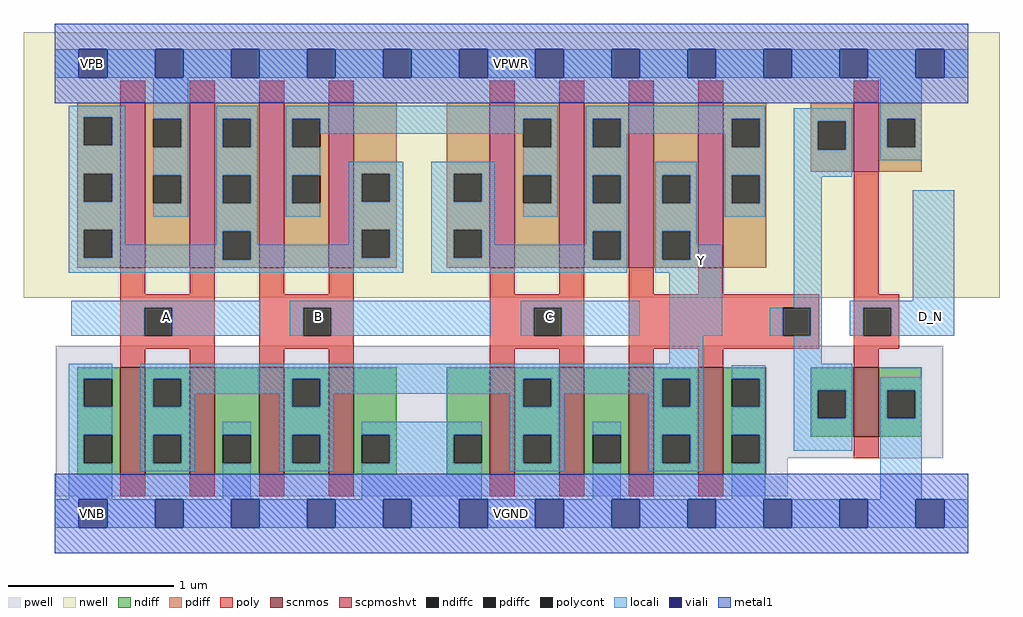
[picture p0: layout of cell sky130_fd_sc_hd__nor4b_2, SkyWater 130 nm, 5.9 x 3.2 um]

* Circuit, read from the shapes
.subckt sky130_fd_sc_hd__nor4b_2 A B C D_N VGND VNB VPB VPWR Y
XM1 Y A VGND VNB sky130_fd_pr__nfet_01v8 w=0.65 l=0.15 m=2
XM2 Y B VGND VNB sky130_fd_pr__nfet_01v8 w=0.65 l=0.15 m=2
XM3 Y C VGND VNB sky130_fd_pr__nfet_01v8 w=0.65 l=0.15 m=2
XM4 Y n1 VGND VNB sky130_fd_pr__nfet_01v8 w=0.65 l=0.15 m=2
XM5 VGND D_N n1 VNB sky130_fd_pr__nfet_01v8 w=0.42 l=0.15
XM6 VPWR A n2 VPB sky130_fd_pr__pfet_01v8_hvt w=1 l=0.15 m=2
XM7 n3 B n2 VPB sky130_fd_pr__pfet_01v8_hvt w=1 l=0.15 m=2
XM8 n3 C n4 VPB sky130_fd_pr__pfet_01v8_hvt w=1 l=0.15 m=2
XM9 Y n1 n4 VPB sky130_fd_pr__pfet_01v8_hvt w=1 l=0.15 m=2
XM10 VPWR D_N n1 VPB sky130_fd_pr__pfet_01v8_hvt w=0.42 l=0.15
.ends

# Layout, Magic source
magic
tech sky130A
magscale 1 2
<< nwell >>
rect -38 261 1142 582
<< pwell >>
rect 1 67 1074 203
rect 1 21 886 67
rect 29 -17 63 21
<< scnmos >>
rect 79 47 109 177
rect 163 47 193 177
rect 247 47 277 177
rect 331 47 361 177
rect 526 47 556 177
rect 610 47 640 177
rect 694 47 724 177
rect 778 47 808 177
rect 966 93 996 177
<< scpmoshvt >>
rect 79 297 109 497
rect 163 297 193 497
rect 247 297 277 497
rect 331 297 361 497
rect 526 297 556 497
rect 610 297 640 497
rect 694 297 724 497
rect 778 297 808 497
rect 966 413 996 497
<< ndiff >>
rect 27 163 79 177
rect 27 129 35 163
rect 69 129 79 163
rect 27 95 79 129
rect 27 61 35 95
rect 69 61 79 95
rect 27 47 79 61
rect 109 163 163 177
rect 109 129 119 163
rect 153 129 163 163
rect 109 95 163 129
rect 109 61 119 95
rect 153 61 163 95
rect 109 47 163 61
rect 193 95 247 177
rect 193 61 203 95
rect 237 61 247 95
rect 193 47 247 61
rect 277 163 331 177
rect 277 129 287 163
rect 321 129 331 163
rect 277 95 331 129
rect 277 61 287 95
rect 321 61 331 95
rect 277 47 331 61
rect 361 95 413 177
rect 361 61 371 95
rect 405 61 413 95
rect 361 47 413 61
rect 474 95 526 177
rect 474 61 482 95
rect 516 61 526 95
rect 474 47 526 61
rect 556 163 610 177
rect 556 129 566 163
rect 600 129 610 163
rect 556 95 610 129
rect 556 61 566 95
rect 600 61 610 95
rect 556 47 610 61
rect 640 95 694 177
rect 640 61 650 95
rect 684 61 694 95
rect 640 47 694 61
rect 724 163 778 177
rect 724 129 734 163
rect 768 129 778 163
rect 724 95 778 129
rect 724 61 734 95
rect 768 61 778 95
rect 724 47 778 61
rect 808 163 860 177
rect 808 129 818 163
rect 852 129 860 163
rect 808 95 860 129
rect 808 61 818 95
rect 852 61 860 95
rect 914 149 966 177
rect 914 115 922 149
rect 956 115 966 149
rect 914 93 966 115
rect 996 149 1048 177
rect 996 115 1006 149
rect 1040 115 1048 149
rect 996 93 1048 115
rect 808 47 860 61
<< pdiff >>
rect 27 479 79 497
rect 27 445 35 479
rect 69 445 79 479
rect 27 411 79 445
rect 27 377 35 411
rect 69 377 79 411
rect 27 343 79 377
rect 27 309 35 343
rect 69 309 79 343
rect 27 297 79 309
rect 109 477 163 497
rect 109 443 119 477
rect 153 443 163 477
rect 109 409 163 443
rect 109 375 119 409
rect 153 375 163 409
rect 109 297 163 375
rect 193 477 247 497
rect 193 443 203 477
rect 237 443 247 477
rect 193 409 247 443
rect 193 375 203 409
rect 237 375 247 409
rect 193 341 247 375
rect 193 307 203 341
rect 237 307 247 341
rect 193 297 247 307
rect 277 477 331 497
rect 277 443 287 477
rect 321 443 331 477
rect 277 409 331 443
rect 277 375 287 409
rect 321 375 331 409
rect 277 297 331 375
rect 361 411 413 497
rect 361 377 371 411
rect 405 377 413 411
rect 361 343 413 377
rect 361 309 371 343
rect 405 309 413 343
rect 361 297 413 309
rect 474 411 526 497
rect 474 377 482 411
rect 516 377 526 411
rect 474 343 526 377
rect 474 309 482 343
rect 516 309 526 343
rect 474 297 526 309
rect 556 477 610 497
rect 556 443 566 477
rect 600 443 610 477
rect 556 409 610 443
rect 556 375 566 409
rect 600 375 610 409
rect 556 297 610 375
rect 640 477 694 497
rect 640 443 650 477
rect 684 443 694 477
rect 640 409 694 443
rect 640 375 650 409
rect 684 375 694 409
rect 640 341 694 375
rect 640 307 650 341
rect 684 307 694 341
rect 640 297 694 307
rect 724 409 778 497
rect 724 375 734 409
rect 768 375 778 409
rect 724 341 778 375
rect 724 307 734 341
rect 768 307 778 341
rect 724 297 778 307
rect 808 477 860 497
rect 808 443 818 477
rect 852 443 860 477
rect 808 409 860 443
rect 914 474 966 497
rect 914 440 922 474
rect 956 440 966 474
rect 914 413 966 440
rect 996 477 1048 497
rect 996 443 1006 477
rect 1040 443 1048 477
rect 996 413 1048 443
rect 808 375 818 409
rect 852 375 860 409
rect 808 297 860 375
<< ndiffc >>
rect 35 129 69 163
rect 35 61 69 95
rect 119 129 153 163
rect 119 61 153 95
rect 203 61 237 95
rect 287 129 321 163
rect 287 61 321 95
rect 371 61 405 95
rect 482 61 516 95
rect 566 129 600 163
rect 566 61 600 95
rect 650 61 684 95
rect 734 129 768 163
rect 734 61 768 95
rect 818 129 852 163
rect 818 61 852 95
rect 922 115 956 149
rect 1006 115 1040 149
<< pdiffc >>
rect 35 445 69 479
rect 35 377 69 411
rect 35 309 69 343
rect 119 443 153 477
rect 119 375 153 409
rect 203 443 237 477
rect 203 375 237 409
rect 203 307 237 341
rect 287 443 321 477
rect 287 375 321 409
rect 371 377 405 411
rect 371 309 405 343
rect 482 377 516 411
rect 482 309 516 343
rect 566 443 600 477
rect 566 375 600 409
rect 650 443 684 477
rect 650 375 684 409
rect 650 307 684 341
rect 734 375 768 409
rect 734 307 768 341
rect 818 443 852 477
rect 922 440 956 474
rect 1006 443 1040 477
rect 818 375 852 409
<< poly >>
rect 79 497 109 523
rect 163 497 193 523
rect 247 497 277 523
rect 331 497 361 523
rect 526 497 556 523
rect 610 497 640 523
rect 694 497 724 523
rect 778 497 808 523
rect 966 497 996 523
rect 79 265 109 297
rect 163 265 193 297
rect 79 249 193 265
rect 79 215 108 249
rect 142 215 193 249
rect 79 199 193 215
rect 79 177 109 199
rect 163 177 193 199
rect 247 265 277 297
rect 331 265 361 297
rect 247 249 361 265
rect 247 215 300 249
rect 334 215 361 249
rect 247 199 361 215
rect 247 177 277 199
rect 331 177 361 199
rect 526 265 556 297
rect 610 265 640 297
rect 526 249 640 265
rect 526 215 579 249
rect 613 215 640 249
rect 526 199 640 215
rect 526 177 556 199
rect 610 177 640 199
rect 694 265 724 297
rect 778 265 808 297
rect 966 265 996 413
rect 694 249 924 265
rect 694 215 880 249
rect 914 215 924 249
rect 694 199 924 215
rect 966 249 1021 265
rect 966 215 977 249
rect 1011 215 1021 249
rect 966 199 1021 215
rect 694 177 724 199
rect 778 177 808 199
rect 966 177 996 199
rect 966 67 996 93
rect 79 21 109 47
rect 163 21 193 47
rect 247 21 277 47
rect 331 21 361 47
rect 526 21 556 47
rect 610 21 640 47
rect 694 21 724 47
rect 778 21 808 47
<< polycont >>
rect 108 215 142 249
rect 300 215 334 249
rect 579 215 613 249
rect 880 215 914 249
rect 977 215 1011 249
<< locali >>
rect 0 527 29 561
rect 63 527 121 561
rect 155 527 213 561
rect 247 527 305 561
rect 339 527 397 561
rect 431 527 489 561
rect 523 527 581 561
rect 615 527 673 561
rect 707 527 765 561
rect 799 527 857 561
rect 891 527 949 561
rect 983 527 1041 561
rect 1075 527 1104 561
rect 17 479 85 493
rect 17 445 35 479
rect 69 445 85 479
rect 17 411 85 445
rect 17 377 35 411
rect 69 377 85 411
rect 17 343 85 377
rect 119 477 161 527
rect 153 443 161 477
rect 119 409 161 443
rect 153 375 161 409
rect 119 359 161 375
rect 195 477 245 493
rect 195 443 203 477
rect 237 443 245 477
rect 195 409 245 443
rect 195 375 203 409
rect 237 375 245 409
rect 17 309 35 343
rect 69 325 85 343
rect 195 341 245 375
rect 279 477 608 493
rect 279 443 287 477
rect 321 459 566 477
rect 279 409 321 443
rect 600 443 608 477
rect 279 375 287 409
rect 279 359 321 375
rect 355 411 421 425
rect 355 377 371 411
rect 405 377 421 411
rect 195 325 203 341
rect 69 309 203 325
rect 17 307 203 309
rect 237 325 245 341
rect 355 343 421 377
rect 355 325 371 343
rect 237 309 371 325
rect 405 309 421 343
rect 237 307 421 309
rect 17 291 421 307
rect 455 411 532 425
rect 455 377 482 411
rect 516 377 532 411
rect 455 343 532 377
rect 566 409 608 443
rect 600 375 608 409
rect 566 359 608 375
rect 642 477 859 493
rect 642 443 650 477
rect 684 459 818 477
rect 684 443 692 459
rect 642 409 692 443
rect 810 443 818 459
rect 852 443 859 477
rect 642 375 650 409
rect 684 375 692 409
rect 455 309 482 343
rect 516 325 532 343
rect 642 341 692 375
rect 642 325 650 341
rect 516 309 650 325
rect 455 307 650 309
rect 684 307 692 341
rect 455 291 692 307
rect 726 409 776 425
rect 726 375 734 409
rect 768 375 776 409
rect 726 341 776 375
rect 810 409 859 443
rect 810 375 818 409
rect 852 375 859 409
rect 810 359 859 375
rect 893 474 964 490
rect 893 440 922 474
rect 956 440 964 474
rect 893 407 964 440
rect 998 477 1048 527
rect 998 443 1006 477
rect 1040 443 1048 477
rect 998 427 1048 443
rect 726 307 734 341
rect 768 325 776 341
rect 768 307 807 325
rect 726 291 807 307
rect 20 249 248 257
rect 20 215 108 249
rect 142 215 248 249
rect 284 249 527 257
rect 284 215 300 249
rect 334 215 527 249
rect 563 249 707 257
rect 563 215 579 249
rect 613 215 707 249
rect 743 215 807 291
rect 893 249 927 407
rect 1037 257 1087 391
rect 864 215 880 249
rect 914 215 927 249
rect 961 249 1087 257
rect 961 215 977 249
rect 1011 215 1087 249
rect 743 181 784 215
rect 17 163 69 181
rect 17 129 35 163
rect 17 95 69 129
rect 17 61 35 95
rect 17 17 69 61
rect 103 163 784 181
rect 893 181 927 215
rect 103 129 119 163
rect 153 145 287 163
rect 153 129 169 145
rect 103 95 169 129
rect 271 129 287 145
rect 321 145 566 163
rect 321 129 337 145
rect 103 61 119 95
rect 153 61 169 95
rect 103 51 169 61
rect 203 95 237 111
rect 203 17 237 61
rect 271 95 337 129
rect 550 129 566 145
rect 600 145 734 163
rect 600 129 616 145
rect 271 61 287 95
rect 321 61 337 95
rect 271 51 337 61
rect 371 95 516 111
rect 405 61 482 95
rect 371 17 516 61
rect 550 95 616 129
rect 718 129 734 145
rect 768 129 784 163
rect 550 61 566 95
rect 600 61 616 95
rect 550 51 616 61
rect 650 95 684 111
rect 650 17 684 61
rect 718 95 784 129
rect 718 61 734 95
rect 768 61 784 95
rect 718 51 784 61
rect 818 163 859 179
rect 852 129 859 163
rect 818 95 859 129
rect 852 61 859 95
rect 893 149 964 181
rect 893 115 922 149
rect 956 115 964 149
rect 893 76 964 115
rect 998 149 1048 165
rect 998 115 1006 149
rect 1040 115 1048 149
rect 818 17 859 61
rect 998 17 1048 115
rect 0 -17 29 17
rect 63 -17 121 17
rect 155 -17 213 17
rect 247 -17 305 17
rect 339 -17 397 17
rect 431 -17 489 17
rect 523 -17 581 17
rect 615 -17 673 17
rect 707 -17 765 17
rect 799 -17 857 17
rect 891 -17 949 17
rect 983 -17 1041 17
rect 1075 -17 1104 17
<< viali >>
rect 29 527 63 561
rect 121 527 155 561
rect 213 527 247 561
rect 305 527 339 561
rect 397 527 431 561
rect 489 527 523 561
rect 581 527 615 561
rect 673 527 707 561
rect 765 527 799 561
rect 857 527 891 561
rect 949 527 983 561
rect 1041 527 1075 561
rect 29 -17 63 17
rect 121 -17 155 17
rect 213 -17 247 17
rect 305 -17 339 17
rect 397 -17 431 17
rect 489 -17 523 17
rect 581 -17 615 17
rect 673 -17 707 17
rect 765 -17 799 17
rect 857 -17 891 17
rect 949 -17 983 17
rect 1041 -17 1075 17
<< metal1 >>
rect 0 561 1104 592
rect 0 527 29 561
rect 63 527 121 561
rect 155 527 213 561
rect 247 527 305 561
rect 339 527 397 561
rect 431 527 489 561
rect 523 527 581 561
rect 615 527 673 561
rect 707 527 765 561
rect 799 527 857 561
rect 891 527 949 561
rect 983 527 1041 561
rect 1075 527 1104 561
rect 0 496 1104 527
rect 0 17 1104 48
rect 0 -17 29 17
rect 63 -17 121 17
rect 155 -17 213 17
rect 247 -17 305 17
rect 339 -17 397 17
rect 431 -17 489 17
rect 523 -17 581 17
rect 615 -17 673 17
rect 707 -17 765 17
rect 799 -17 857 17
rect 891 -17 949 17
rect 983 -17 1041 17
rect 1075 -17 1104 17
rect 0 -48 1104 -17
<< labels >>
flabel locali s 1041 221 1075 255 0 FreeSans 400 0 0 0 D_N
port 4 nsew signal input
flabel locali s 765 289 799 323 0 FreeSans 400 0 0 0 Y
port 9 nsew signal output
flabel locali s 581 221 615 255 0 FreeSans 400 0 0 0 C
port 3 nsew signal input
flabel locali s 118 221 152 255 0 FreeSans 400 0 0 0 A
port 1 nsew signal input
flabel locali s 302 221 336 255 0 FreeSans 400 0 0 0 B
port 2 nsew signal input
flabel pwell s 29 -17 63 17 0 FreeSans 200 0 0 0 VNB
port 6 nsew ground bidirectional
flabel nwell s 29 527 63 561 0 FreeSans 200 0 0 0 VPB
port 7 nsew power bidirectional
flabel metal1 s 29 -17 63 17 0 FreeSans 200 0 0 0 VGND
port 5 nsew ground bidirectional abutment
flabel metal1 s 29 527 63 561 0 FreeSans 200 0 0 0 VPWR
port 8 nsew power bidirectional abutment
rlabel comment s 0 0 0 0 4 nor4b_2
rlabel metal1 s 0 -48 1104 48 1 VGND
port 5 nsew ground bidirectional abutment
rlabel metal1 s 0 496 1104 592 1 VPWR
port 8 nsew power bidirectional abutment
<< properties >>
string FIXED_BBOX 0 0 1104 544
string GDS_END 1162760
string GDS_FILE $PDKPATH/libs.ref/sky130_fd_sc_hd/gds/sky130_fd_sc_hd.gds
string GDS_START 1153490
string LEFclass CORE
string LEFsite unithd
string LEFsymmetry X Y R90
string path 0.000 0.000 5.520 0.000 
<< end >>
